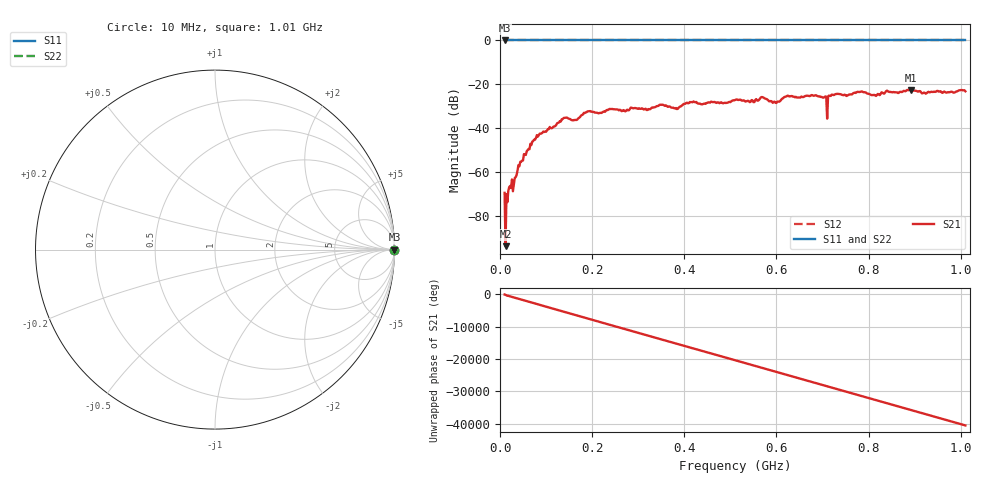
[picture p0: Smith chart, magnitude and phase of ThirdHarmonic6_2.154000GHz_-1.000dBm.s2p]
! 8/17/2025 1:43:12 AM
! C:\ANRITSUVNA\TEMP\TEMP.S2P
! CHANNEL.1
! TR.MEASUREMENT
! RAW.DATA
! RF.CORRECTION.OFF
! AVERAGING.OFF
! IF.BANDWIDTH: 5KHZ
! SWEEPTYPE:  FREQ.SWEEP(Linear)
! Reference Plane Port Info
! PORT:  PORT1  PORT2
! DISTANCE:  0  m  0  m
! TIME:  0  s  0  s
! PHASE.OFFSET:  0  deg.  0  deg.
! LOSS:  0  dB  0  dB
! REF.LOSS:  0  dB  0  dB
! REF.FREQ:  0  Hz  0  Hz
! Power Info
! POWER:  -20  dBm  -20  dBm
! EFF.POWER:  -20  dBm  -20  dBm
! SOURCE.ATTEN:  0  dB  0  dB
! TEST.ATTEN:  0  dB  0  dB
# GHZ S RI R 50.0
! FREQ.GHZ  S11RE  S11IM  S21RE  S21IM  S12RE  S12IM  S22RE  S22IM
!; PortSelection: Port_12
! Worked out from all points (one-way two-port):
!   501 points, 10 MHz to 1.01 GHz, reference 50 ohm
!   highest |S21| = -22.48 dB at 892 MHz (marker M1); lowest = -93.6 dB at 12 MHz (marker M2)
!   lowest |S11| = 0.0 dB at 10 MHz (marker M3)
!   |S11| at or under -10 dB: nowhere
!   |S22| runs from 0.0 to 0.0 dB; largest |S21 - S12| = 1.1
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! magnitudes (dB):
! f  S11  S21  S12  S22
! 10 MHz  0.0  -69.3  0.0  0.0
! 12 MHz  0.0  -93.6  0.0  0.0
! 22 MHz  0.0  -66.2  0.0  0.0
! 32 MHz  0.0  -62.6  0.0  0.0
! 44 MHz  0.0  -55.2  0.0  0.0
! 76 MHz  0.0  -45.2  0.0  0.0
! 138 MHz  0.0  -35.3  0.0  0.0
! 178 MHz  0.0  -33.9  0.0  0.0
! 344 MHz  0.0  -29.8  0.0  0.0
! 382 MHz  0.0  -30.8  0.0  0.0
! 416 MHz  0.0  -28.0  0.0  0.0
! 510 MHz  0.0  -27.1  0.0  0.0
! 570 MHz  0.0  -25.8  0.0  0.0
! 596 MHz  0.0  -27.9  0.0  0.0
! 622 MHz  0.0  -25.4  0.0  0.0
! 678 MHz  0.0  -24.9  0.0  0.0
! 704 MHz  0.0  -25.9  0.0  0.0
! 706 MHz  0.0  -25.5  0.0  0.0
! 732 MHz  0.0  -24.3  0.0  0.0
! 844 MHz  0.0  -23.4  0.0  0.0
! 892 MHz  0.0  -22.5  0.0  0.0
! 1.01 GHz  0.0  -23.1  0.0  0.0
